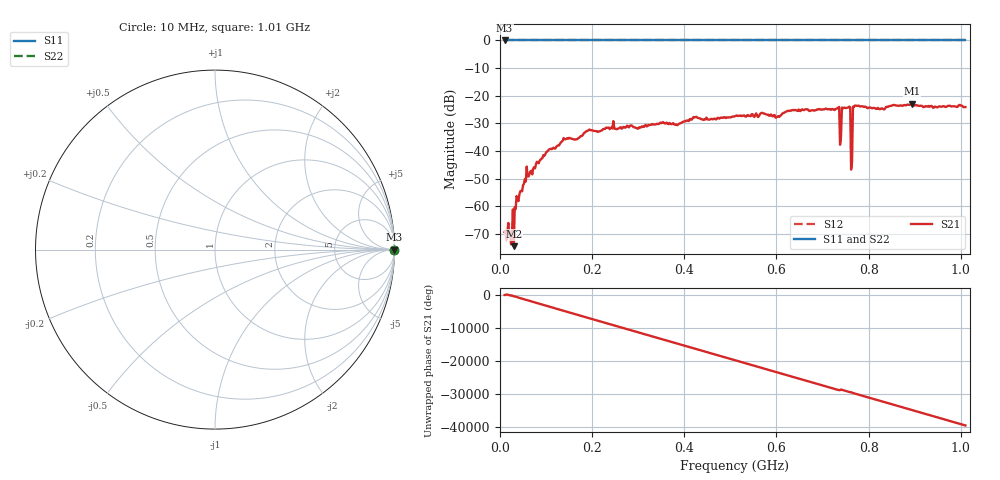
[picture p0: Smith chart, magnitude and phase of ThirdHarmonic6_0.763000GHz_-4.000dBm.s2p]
! 8/16/2025 1:29:30 AM
! C:\ANRITSUVNA\TEMP\TEMP.S2P
! CHANNEL.1
! TR.MEASUREMENT
! RAW.DATA
! RF.CORRECTION.OFF
! AVERAGING.OFF
! IF.BANDWIDTH: 5KHZ
! SWEEPTYPE:  FREQ.SWEEP(Linear)
! Reference Plane Port Info
! PORT:  PORT1  PORT2
! DISTANCE:  0  m  0  m
! TIME:  0  s  0  s
! PHASE.OFFSET:  0  deg.  0  deg.
! LOSS:  0  dB  0  dB
! REF.LOSS:  0  dB  0  dB
! REF.FREQ:  0  Hz  0  Hz
! Power Info
! POWER:  -20  dBm  -20  dBm
! EFF.POWER:  -20  dBm  -20  dBm
! SOURCE.ATTEN:  0  dB  0  dB
! TEST.ATTEN:  0  dB  0  dB
# GHZ S RI R 50.0
! FREQ.GHZ  S11RE  S11IM  S21RE  S21IM  S12RE  S12IM  S22RE  S22IM
!; PortSelection: Port_12
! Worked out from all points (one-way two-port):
!   501 points, 10 MHz to 1.01 GHz, reference 50 ohm
!   highest |S21| = -22.92 dB at 894 MHz (marker M1); lowest = -74.4 dB at 30 MHz (marker M2)
!   lowest |S11| = 0.0 dB at 10 MHz (marker M3)
!   |S11| at or under -10 dB: nowhere
!   |S22| runs from 0.0 to 0.0 dB; largest |S21 - S12| = 1.1
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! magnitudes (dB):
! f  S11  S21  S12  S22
! 10 MHz  0.0  -69.4  0.0  0.0
! 26 MHz  0.0  -69.9  0.0  0.0
! 30 MHz  0.0  -74.4  0.0  0.0
! 40 MHz  0.0  -58.1  0.0  0.0
! 62 MHz  0.0  -49.2  0.0  0.0
! 106 MHz  0.0  -39.5  0.0  0.0
! 178 MHz  0.0  -34.6  0.0  0.0
! 344 MHz  0.0  -30.2  0.0  0.0
! 510 MHz  0.0  -27.4  0.0  0.0
! 678 MHz  0.0  -25.3  0.0  0.0
! 732 MHz  0.0  -24.6  0.0  0.0
! 736 MHz  0.0  -24.1  0.0  0.0
! 742 MHz  0.0  -24.3  0.0  0.0
! 746 MHz  0.0  -24.4  0.0  0.0
! 756 MHz  0.0  -24.2  0.0  0.0
! 760 MHz  0.0  -24.2  0.0  0.0
! 764 MHz  0.0  -43.9  0.0  0.0
! 766 MHz  0.0  -24.0  0.0  0.0
! 770 MHz  0.0  -23.6  0.0  0.0
! 844 MHz  0.0  -23.8  0.0  0.0
! 894 MHz  0.0  -22.9  0.0  0.0
! 1.01 GHz  0.0  -24.1  0.0  0.0
